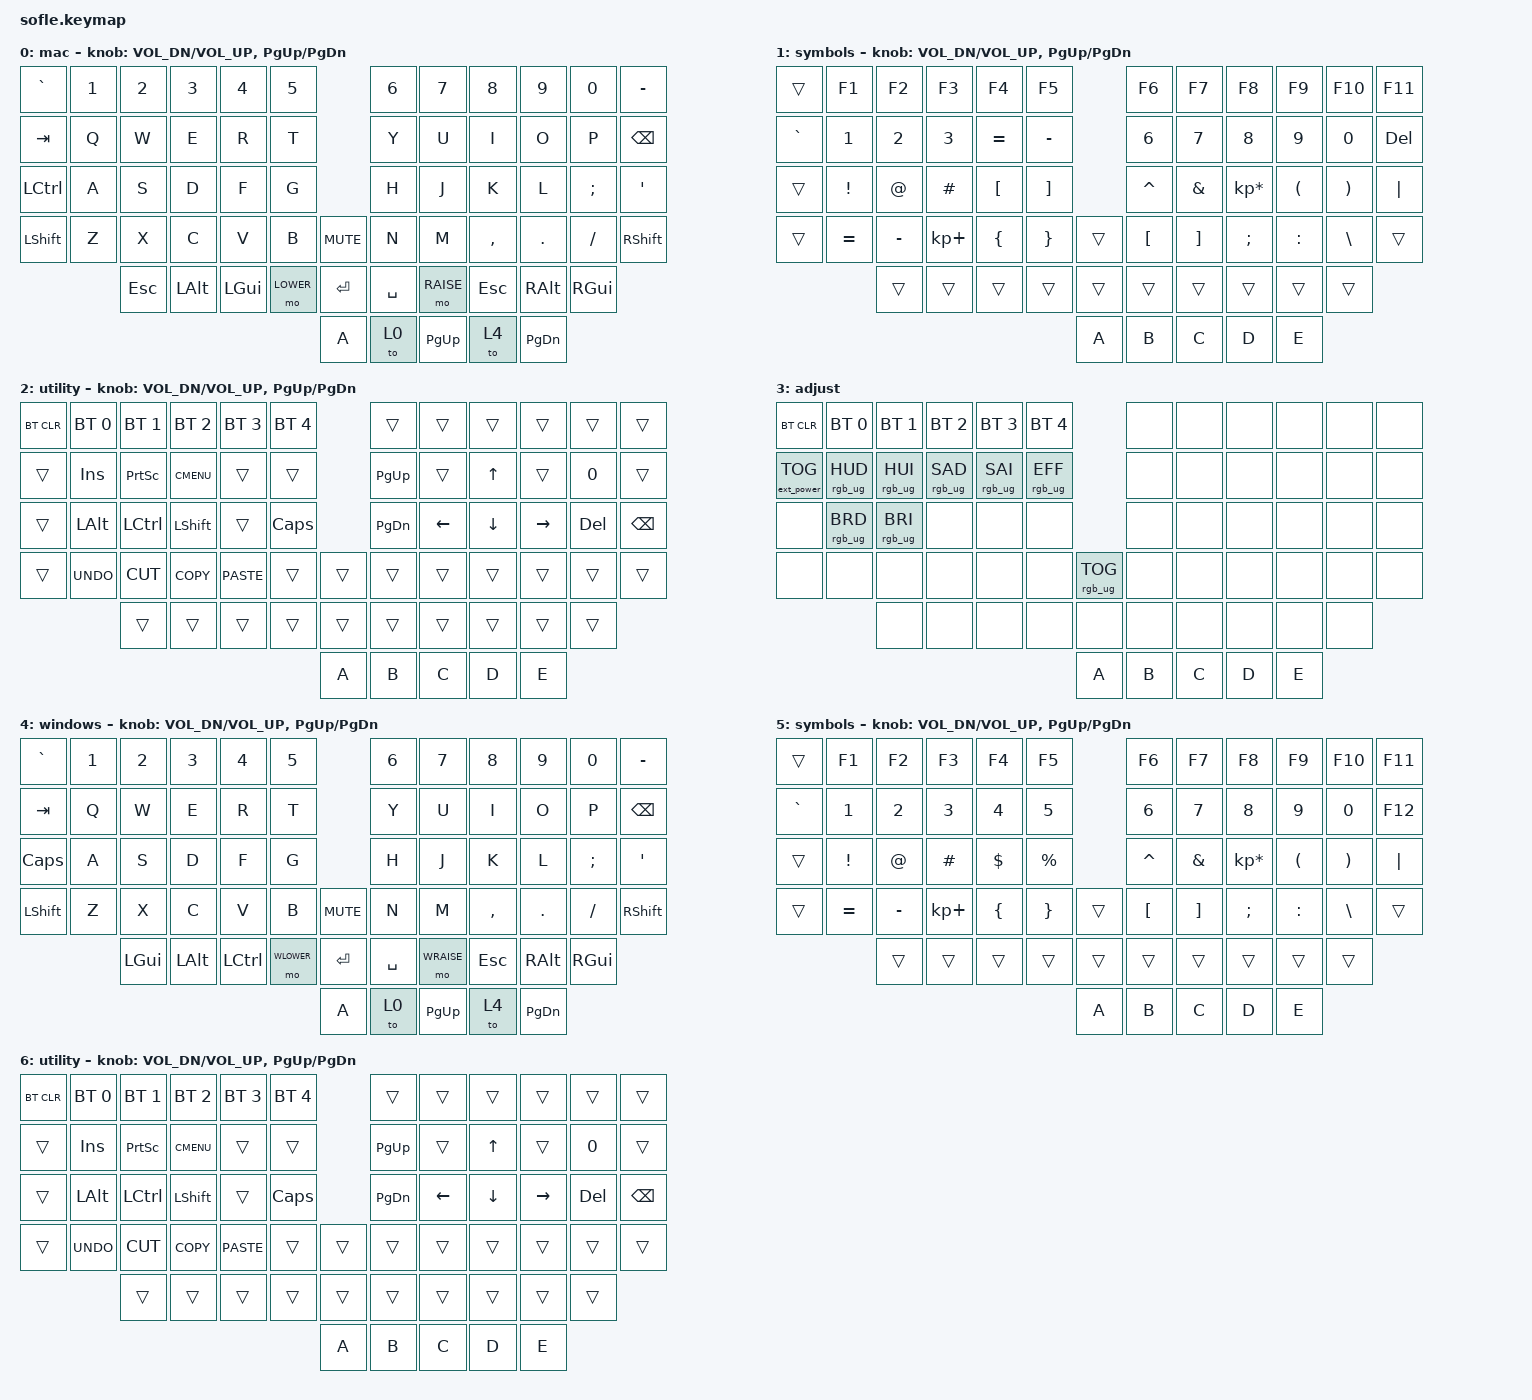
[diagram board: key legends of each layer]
/*
 * Copyright (c) 2020 The ZMK Contributors
 *
 * SPDX-License-Identifier: MIT
 */

#include <behaviors.dtsi>
#include <dt-bindings/zmk/keys.h>
#include <dt-bindings/zmk/bt.h>
#include <dt-bindings/zmk/rgb.h>
#include <dt-bindings/zmk/ext_power.h>

#define BASE 0
#define LOWER 1
#define RAISE 2
#define ADJUST 3
#define WINDOWS 4
#define WLOWER 5
#define WRAISE 6

/ {

   // Activate ADJUST layer by pressing raise and lower
    conditional_layers {
        compatible = "zmk,conditional-layers";
        adjust_layer {
            if-layers = <LOWER RAISE>;
            then-layer = <ADJUST>;
        };
    };

    keymap {
        compatible = "zmk,keymap";

        default_layer {
            label = "mac";
// ------------------------------------------------------------------------------------------------------------
// |   `   |  1  |  2  |  3   |  4   |  5   |                   |  6   |  7    |  8    |  9   |   0   |   -   |
// |  TAB  |  Q  |  W  |  E   |  R   |  T   |                   |  Y   |  U    |  I    |  O   |   P   | BKSPC |
// | LCTRL |  A  |  S  |  D   |  F   |  G   |                   |  H   |  J    |  K    |  L   |   ;   |   '   |
// | SHIFT |  Z  |  X  |  C   |  V   |  B   |  MUTE  |  |       |  N   |  M    |  ,    |  .   |   /   | SHIFT |
//               | ESC | ALT  | GUI  | LOWER|  ENTER |  | SPACE | RAISE| CTRL  | ALT   | GUI  |
            bindings = <
&kp GRAVE &kp N1 &kp N2   &kp N3   &kp N4    &kp N5                           &kp N6 &kp N7    &kp N8    &kp N9   &kp N0   &kp MINUS
&kp TAB   &kp Q  &kp W    &kp E    &kp R     &kp T                            &kp Y  &kp U     &kp I     &kp O    &kp P    &kp BSPC
&kp LCTRL &kp A  &kp S    &kp D    &kp F     &kp G                            &kp H  &kp J     &kp K     &kp L    &kp SEMI &kp SQT
&kp LSHFT &kp Z  &kp X    &kp C    &kp V     &kp B      &kp C_MUTE            &kp N  &kp M     &kp COMMA &kp DOT  &kp FSLH &kp RSHFT
                 &kp ESC  &kp LALT &kp LGUI  &mo LOWER  &kp RET    &kp SPACE  &mo RAISE  &kp ESC &kp RALT  &kp RGUI
                                                                   &kp A      &to 0 &kp PG_UP &to 4 &kp PG_DN
            >;

            sensor-bindings = <&inc_dec_kp C_VOL_DN C_VOL_UP &inc_dec_kp PG_UP PG_DN>;
        };

        lower_layer {
            label = "symbols";
// TODO: Some binds are waiting for shifted keycode support.
// ------------------------------------------------------------------------------------------------------------
// |       |  F1 |  F2 |  F3  |  F4  |  F5  |                   |  F6  |  F7   |  F8   |  F9  |  F10  |  F11  |
// |   `   |  1  |  2  |  3   |  =   |  -   |                   |  6   |  7    |  8    |  9   |   0   |  DEL  |
// |       |  !  |  @  |  #   |  [   |  ]   |                   |  ^   |  &    |  *    |  (   |   )   |   |   |
// |       |  =  |  -  |  +   |  {   |  }   |        |  |       |  [   |  ]    |  ;    |  :   |   \   |       |
//               |     |      |      |      |        |  |       |      |       |       |      |
            bindings = <
&trans    &kp F1    &kp F2    &kp F3      &kp F4    &kp F5                    &kp F6    &kp F7   &kp F8          &kp F9    &kp F10   &kp F11
&kp GRAVE &kp N1    &kp N2    &kp N3      &kp EQUAL &kp MINUS                 &kp N6    &kp N7   &kp N8          &kp N9    &kp N0    &kp DEL
&trans    &kp EXCL  &kp AT    &kp HASH    &kp LBKT  &kp RBKT                  &kp CARET &kp AMPS &kp KP_MULTIPLY &kp LPAR  &kp RPAR  &kp PIPE
&trans    &kp EQUAL &kp MINUS &kp KP_PLUS &kp LBRC  &kp RBRC   &trans         &kp LBKT  &kp RBKT &kp SEMI        &kp COLON &kp BSLH  &trans
                    &trans    &trans      &trans    &trans     &trans &trans  &trans    &trans   &trans          &trans
                                                                      &kp A      &kp B  &kp C &kp D  &kp E
            >;

            sensor-bindings = <&inc_dec_kp C_VOL_DN C_VOL_UP &inc_dec_kp PG_UP PG_DN>;
        };

        utility_layer {
            label = "utility";
// ------------------------------------------------------------------------------------------------------------
// | BTCLR | BT1  | BT2  |  BT3  |  BT4  |  BT5 |                |      |      |       |      |       |       |
// |       | INS  | PSCR | GUI   |       |      |                | PGUP |      |   ^   |      |       |       |
// |       | ALT  | CTRL | SHIFT |       | CAPS |                | PGDN |   <- |   v   |  ->  |  DEL  | BKSPC |
// |       | UNDO | CUT  | COPY  | PASTE |      |      |  |      |      |      |       |      |       |       |
//                |      |       |       |      |      |  |      |      |      |       |      |
            bindings = <
&bt BT_CLR &bt BT_SEL 0 &bt BT_SEL 1 &bt BT_SEL 2 &bt BT_SEL 3 &bt BT_SEL 4                  &trans    &trans    &trans   &trans    &trans  &trans
&trans     &kp INS      &kp PSCRN    &kp K_CMENU  &trans       &trans                        &kp PG_UP &trans    &kp UP   &trans    &kp N0  &trans
&trans     &kp LALT     &kp LCTRL    &kp LSHFT    &trans       &kp CLCK                      &kp PG_DN &kp LEFT  &kp DOWN &kp RIGHT &kp DEL &kp BSPC
&trans     &kp K_UNDO   &kp K_CUT    &kp K_COPY   &kp K_PASTE  &trans        &trans          &trans    &trans    &trans   &trans    &trans  &trans
                        &trans       &trans       &trans       &trans        &trans  &trans  &trans    &trans    &trans   &trans
                                                                                     &kp A      &kp B  &kp C &kp D  &kp E
            >;

            sensor-bindings = <&inc_dec_kp C_VOL_DN C_VOL_UP &inc_dec_kp PG_UP PG_DN>;
        };

        adjust_layer {
// ----------------------------------------------------------------------------------------------------------------------------
// | BTCLR  |  BT1    |  BT2    |   BT3   |   BT4   |   BT5   |                  |      |      |       |      |       |       |
// | EXTPWR | RGB_HUD | RGB_HUI | RGB_SAD | RGB_SAI | RGB_EFF |                  |      |      |       |      |       |       |
// |        | RGB_BRD | RGB_BRI |         |         |         |                  |      |      |       |      |       |       |
// |        |         |         |         |         |         | RGB_TOG | |      |      |      |       |      |       |       |
//                    |         |         |         |         |         | |      |      |      |       |      |
            label = "adjust";
            bindings = <
&bt BT_CLR        &bt BT_SEL 0    &bt BT_SEL 1    &bt BT_SEL 2    &bt BT_SEL 3    &bt BT_SEL 4                            &none &none &none &none &none &none
&ext_power EP_TOG &rgb_ug RGB_HUD &rgb_ug RGB_HUI &rgb_ug RGB_SAD &rgb_ug RGB_SAI &rgb_ug RGB_EFF                         &none &none &none &none &none &none
&none             &rgb_ug RGB_BRD &rgb_ug RGB_BRI &none           &none           &none                                   &none &none &none &none &none &none
&none             &none           &none           &none           &none           &none            &rgb_ug RGB_TOG        &none &none &none &none &none &none
                                  &none           &none           &none           &none            &none           &none  &none &none &none &none
                                                                                                                    &kp A      &kp B  &kp C &kp D  &kp E
            >;
        };

        windows_layer {
            label = "windows";
// ------------------------------------------------------------------------------------------------------------
// |   `   |  1  |  2  |  3   |  4   |  5   |                   |  6   |  7    |  8    |  9   |   0   |   -   |
// |  TAB  |  Q  |  W  |  E   |  R   |  T   |                   |  Y   |  U    |  I    |  O   |   P   | BKSPC |
// | CAPS  |  A  |  S  |  D   |  F   |  G   |                   |  H   |  J    |  K    |  L   |   ;   |   '   |
// | SHIFT |  Z  |  X  |  C   |  V   |  B   |  MUTE  |  |       |  N   |  M    |  ,    |  .   |   /   | SHIFT |
//               | GUI | ALT  | CTRL | LOWER|  ENTER |  | SPACE | RAISE| ESC   | ALT   | GUI  |
            bindings = <
&kp GRAVE &kp N1 &kp N2   &kp N3   &kp N4    &kp N5                           &kp N6 &kp N7    &kp N8    &kp N9   &kp N0   &kp MINUS
&kp TAB   &kp Q  &kp W    &kp E    &kp R     &kp T                            &kp Y  &kp U     &kp I     &kp O    &kp P    &kp BSPC
&kp CAPS  &kp A  &kp S    &kp D    &kp F     &kp G                            &kp H  &kp J     &kp K     &kp L    &kp SEMI &kp SQT
&kp LSHFT &kp Z  &kp X    &kp C    &kp V     &kp B      &kp C_MUTE            &kp N  &kp M     &kp COMMA &kp DOT  &kp FSLH &kp RSHFT
                 &kp LGUI &kp LALT &kp LCTRL &mo WLOWER  &kp RET    &kp SPACE  &mo WRAISE  &kp ESC &kp RALT  &kp RGUI
                                                                   &kp A      &to 0 &kp PG_UP &to 4 &kp PG_DN
            >;

            sensor-bindings = <&inc_dec_kp C_VOL_DN C_VOL_UP &inc_dec_kp PG_UP PG_DN>;
        };

        window_lower_layer {
            label = "symbols";
// TODO: Some binds are waiting for shifted keycode support.
// ------------------------------------------------------------------------------------------------------------
// |       |  F1 |  F2 |  F3  |  F4  |  F5  |                   |  F6  |  F7   |  F8   |  F9  |  F10  |  F11  |
// |   `   |  1  |  2  |  3   |  4   |  5   |                   |  6   |  7    |  8    |  9   |   0   |  F12  |
// |       |  !  |  @  |  #   |  $   |  %   |                   |  ^   |  &    |  *    |  (   |   )   |   |   |
// |       |  =  |  -  |  +   |  {   |  }   |        |  |       |  [   |  ]    |  ;    |  :   |   \   |       |
//               |     |      |      |      |        |  |       |      |       |       |      |
            bindings = <
&trans    &kp F1    &kp F2    &kp F3      &kp F4    &kp F5                    &kp F6    &kp F7   &kp F8          &kp F9    &kp F10   &kp F11
&kp GRAVE &kp N1    &kp N2    &kp N3      &kp N4    &kp N5                    &kp N6    &kp N7   &kp N8          &kp N9    &kp N0    &kp F12
&trans    &kp EXCL  &kp AT    &kp HASH    &kp DLLR  &kp PRCNT                 &kp CARET &kp AMPS &kp KP_MULTIPLY &kp LPAR  &kp RPAR  &kp PIPE
&trans    &kp EQUAL &kp MINUS &kp KP_PLUS &kp LBRC  &kp RBRC   &trans         &kp LBKT  &kp RBKT &kp SEMI        &kp COLON &kp BSLH  &trans
                    &trans    &trans      &trans    &trans     &trans &trans  &trans    &trans   &trans          &trans
                                                                      &kp A      &kp B  &kp C &kp D  &kp E
            >;

            sensor-bindings = <&inc_dec_kp C_VOL_DN C_VOL_UP &inc_dec_kp PG_UP PG_DN>;
        };

        window_utility_layer {
            label = "utility";
// ------------------------------------------------------------------------------------------------------------
// | BTCLR | BT1  | BT2  |  BT3  |  BT4  |  BT5 |                |      |      |       |      |       |       |
// |       | INS  | PSCR | GUI   |       |      |                | PGUP |      |   ^   |      |       |       |
// |       | ALT  | CTRL | SHIFT |       | CAPS |                | PGDN |   <- |   v   |  ->  |  DEL  | BKSPC |
// |       | UNDO | CUT  | COPY  | PASTE |      |      |  |      |      |      |       |      |       |       |
//                |      |       |       |      |      |  |      |      |      |       |      |
            bindings = <
&bt BT_CLR &bt BT_SEL 0 &bt BT_SEL 1 &bt BT_SEL 2 &bt BT_SEL 3 &bt BT_SEL 4                  &trans    &trans    &trans   &trans    &trans  &trans
&trans     &kp INS      &kp PSCRN    &kp K_CMENU  &trans       &trans                        &kp PG_UP &trans    &kp UP   &trans    &kp N0  &trans
&trans     &kp LALT     &kp LCTRL    &kp LSHFT    &trans       &kp CLCK                      &kp PG_DN &kp LEFT  &kp DOWN &kp RIGHT &kp DEL &kp BSPC
&trans     &kp K_UNDO   &kp K_CUT    &kp K_COPY   &kp K_PASTE  &trans        &trans          &trans    &trans    &trans   &trans    &trans  &trans
                        &trans       &trans       &trans       &trans        &trans  &trans  &trans    &trans    &trans   &trans
                                                                                     &kp A      &kp B  &kp C &kp D  &kp E
            >;

            sensor-bindings = <&inc_dec_kp C_VOL_DN C_VOL_UP &inc_dec_kp PG_UP PG_DN>;
        };
    };
};
